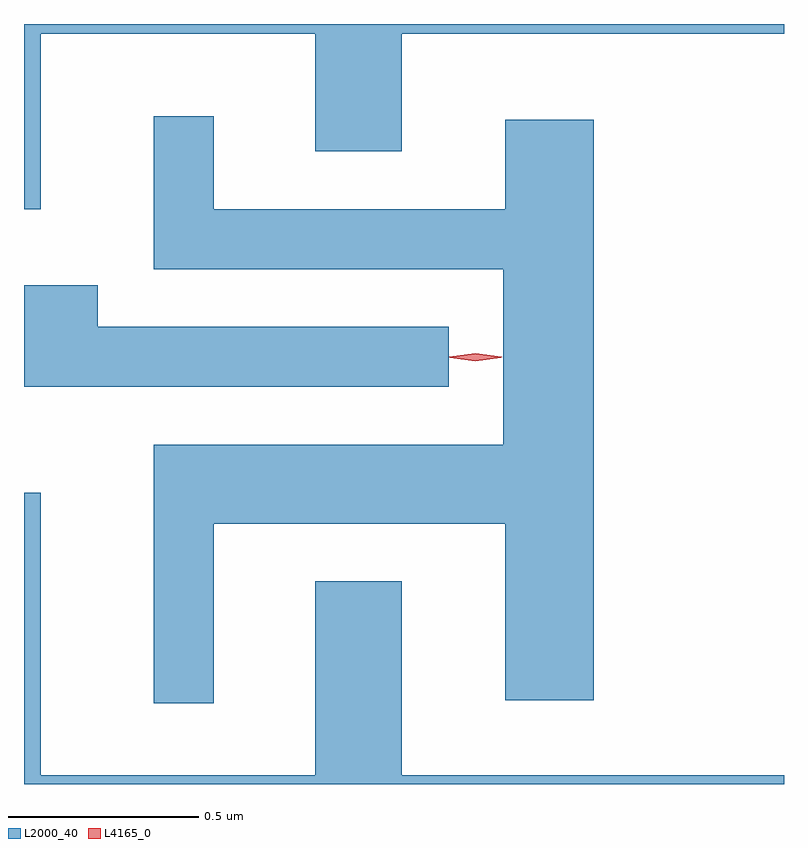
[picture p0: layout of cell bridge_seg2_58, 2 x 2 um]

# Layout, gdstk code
import gdstk
lib = gdstk.Library(unit=1e-6, precision=1e-09)
def P(c, l, *ps):  # polygons
    for p in ps: c.add(gdstk.Polygon(p, *l))
L2000_40 = (2000, 40)
L4165_0 = (4165, 0)

bridge_seg2_58 = lib.new_cell('bridge_seg2_58')
P(bridge_seg2_58, L2000_40, [(1286.669,1028.336),(1287.391,1028.336),(1287.391,1028.026),(1287.619,1028.026),(1287.619,1028.336),(1288.625,1028.336),(1288.625,1028.361),(1286.625,1028.361),(1286.625,1027.873),(1286.669,1027.873)],
  [(1287.124,1027.046),(1287.891,1027.046),(1287.891,1026.581),(1288.124,1026.581),(1288.124,1028.109),(1287.891,1028.109),(1287.891,1027.874),(1287.124,1027.874),(1287.124,1028.118),(1286.966,1028.118),(1286.966,1027.716),(1287.886,1027.716),(1287.886,1027.254),(1286.966,1027.254),(1286.966,1026.573),(1287.124,1026.573)],
  [(1287.743,1027.564),(1286.819,1027.564),(1286.819,1027.674),(1286.625,1027.674),(1286.625,1027.406),(1287.743,1027.406)],
  [(1288.625,1026.384),(1287.619,1026.384),(1287.619,1026.894),(1287.391,1026.894),(1287.391,1026.384),(1286.669,1026.384),(1286.669,1027.128),(1286.625,1027.128),(1286.625,1026.361),(1288.625,1026.361)])
P(bridge_seg2_58, L4165_0, [(1287.813,1027.475),(1287.744,1027.484),(1287.744,1027.485),(1287.744,1027.485),(1287.813,1027.495),(1287.882,1027.485),(1287.882,1027.485),(1287.882,1027.484)],
  [(1287.813,1027.474),(1287.747,1027.483),(1287.747,1027.484),(1287.747,1027.484),(1287.813,1027.494),(1287.879,1027.484),(1287.879,1027.484),(1287.879,1027.483)])

lib.write_gds('bridge_seg2_58.gds')
